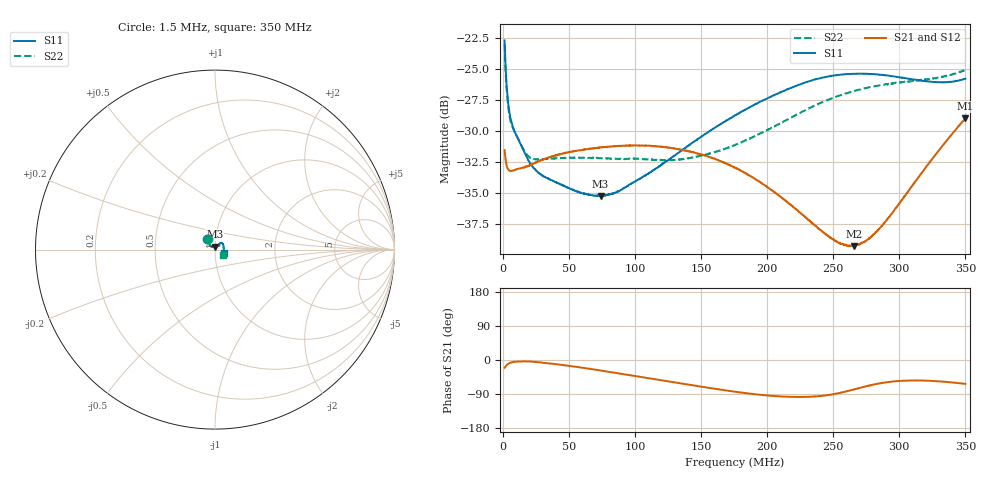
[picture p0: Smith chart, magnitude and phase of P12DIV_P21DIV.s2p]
# Hz S RI R 50
! RAW DATA - UNCALIBRATED
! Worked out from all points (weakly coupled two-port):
!   1601 points, 1.5 MHz to 350 MHz, reference 50 ohm
!   highest |S21| = -28.97 dB at 350 MHz (marker M1); lowest = -39.3 dB at 265.7 MHz (marker M2)
!   lowest |S11| = -35.2 dB at 74.03 MHz (marker M3), VSWR 1.04, Z = 49.8 + j1.72 ohm
!   |S11| at or under -10 dB: start of sweep to end of sweep
!   |S22| runs from -32.4 to -23.0 dB; largest |S21 - S12| = 0.0016
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1500000  -0.0447 0.058  0.0248 -0.00931  0.0247 -0.00958  -0.0407 0.0579
4113750  -0.0303 0.028  0.0219 -0.00395  0.0219 -0.00409  -0.0289 0.0276
6074062  -0.0276 0.0221  0.0217 -0.00266  0.0216 -0.00277  -0.0264 0.022
9123438  -0.0252 0.0188  0.0219 -0.00182  0.0216 -0.0018  -0.0244 0.0196
1.805375e7  -0.019 0.0161  0.0227 -0.00141  0.0228 -0.00148  -0.0185 0.0175
2.241e7  -0.0171 0.0149  0.0231 -0.0018  0.0231 -0.00194  -0.0175 0.0172
2.959781e7  -0.0152 0.0144  0.024 -0.0029  0.0236 -0.00282  -0.016 0.0183
5.965594e7  -0.00628 0.0166  0.0249 -0.00906  0.0249 -0.00897  -0.00797 0.0233
7.403156e7  -0.0015 0.0172  0.0241 -0.0126  0.024 -0.0124  -0.00415 0.0242
8.731812e7  0.00251 0.0179  0.0225 -0.0158  0.0225 -0.0153  -0.00108 0.0244
1.178119e8  0.0108 0.0198  0.0167 -0.0217  0.0169 -0.0213  0.0054 0.0236
1.409e8  0.0156 0.0229  0.011 -0.0237  0.0114 -0.0234  0.00942 0.0227
1.589784e8  0.019 0.026  0.00631 -0.0237  0.00686 -0.0235  0.013 0.0224
1.7575e8  0.0221 0.0291  0.0025 -0.0224  0.00306 -0.0223  0.0167 0.0222
2.042834e8  0.0273 0.0343  -0.00142 -0.0181  -0.000977 -0.0181  0.0239 0.0223
2.339059e8  0.0336 0.0377  -0.0016 -0.0134  -0.00118 -0.0135  0.0328 0.022
2.530734e8  0.0382 0.0369  0.00035 -0.0113  0.000694 -0.0113  0.0388 0.0199
2.657066e8  0.041 0.0347  0.00229 -0.0106  0.00267 -0.0105  0.0423 0.0175
2.779041e8  0.0436 0.0313  0.00451 -0.0108  0.0049 -0.0107  0.0453 0.0142
2.920619e8  0.0462 0.0256  0.00748 -0.012  0.00788 -0.0117  0.048 0.00896
3.295256e8  0.0497 0.00082  0.0145 -0.0218  0.0155 -0.0212  0.0502 -0.0129
3.5e8  0.0478 -0.0189  0.0162 -0.0317  0.0175 -0.031  0.0468 -0.0305
